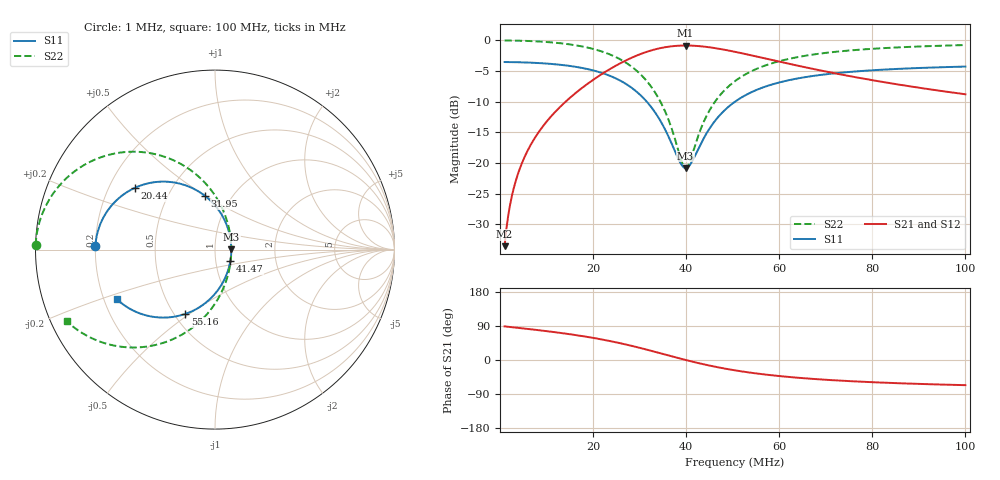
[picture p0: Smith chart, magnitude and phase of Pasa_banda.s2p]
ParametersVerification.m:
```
clear 
close all
clc

% Cargar el archivo Touchstone
s_params = sparameters('TouchStoneFiles/Pasa_banda.s2p'); % Reemplaza con tu archivo
frec = s_params.Frequencies; % Frecuencias en Hz
s_matrix = s_params.Parameters; % Matriz S (compleja)
z0 = s_params.Impedance; % Impedancia característica (por defecto 50 ohms)

% Convertir los parámetros S a otros dominios
z_matrix = s2z(s_matrix, z0); % Convertir S a Z
y_matrix = s2y(s_matrix, z0); % Convertir S a Y
abcd_matrix = s2abcd(s_matrix, z0); % Convertir S a ABCD

% Convertir ABCD a matriz T (Transmisión)
[n_ports, ~, n_freqs] = size(abcd_matrix); % Asumimos sistema de 2 puertos
t_matrix = zeros(size(abcd_matrix)); % Inicializar matriz T
for k = 1:n_freqs
    A = abcd_matrix(1,1,k);
    B = abcd_matrix(1,2,k);
    C = abcd_matrix(2,1,k);
    D = abcd_matrix(2,2,k);
    t_matrix(:,:,k) = [A B; C D] ./ D; % Normalización para obtener T
end

% Graficar Parámetros S, Z, Y, ABCD, T
figure;

% Parámetros S
subplot(3, 2, 1);
for i = 1:n_ports
    for j = 1:n_ports
        hold on;
        plot(frec/1e9, 20*log10(abs(squeeze(s_matrix(i,j,:)))), 'LineWidth', 1.5);
    end
end
xlabel('Frecuencia (GHz)');
ylabel('Magnitud |S| (dB)');
title('Parámetros S');
grid on;
legend(arrayfun(@(i, j) sprintf('S_{%d%d}', i, j), repmat(1:n_ports, n_ports, 1), repmat((1:n_ports)', 1, n_ports), 'UniformOutput', false));

% Parámetros Z
subplot(3, 2, 2);
for i = 1:n_ports
    for j = 1:n_ports
        hold on;
        plot(frec/1e9, real(squeeze(z_matrix(i,j,:))), 'LineWidth', 1.5);
    end
end
xlabel('Frecuencia (GHz)');
ylabel('Re(Z) (\Omega)');
title('Parámetros Z');
grid on;

% Parámetros Y
subplot(3, 2, 3);
for i = 1:n_ports
    for j = 1:n_ports
        hold on;
        plot(frec/1e9, abs(squeeze(y_matrix(i,j,:))), 'LineWidth', 1.5);
    end
end
xlabel('Frecuencia (GHz)');
ylabel('|Y| (S)');
title('Parámetros Y');
grid on;

% Parámetros ABCD
subplot(3, 2, 4);
for i = 1:2 % Solo para sistemas de 2 puertos (ABCD es 2x2)
    for j = 1:2
        hold on;
        plot(frec/1e9, abs(squeeze(abcd_matrix(i,j,:))), 'LineWidth', 1.5);
    end
end
xlabel('Frecuencia (GHz)');
ylabel('|ABCD|');
title('Parámetros ABCD');
grid on;

% Parámetros T
subplot(3, 2, 5);
for i = 1:2 % Solo para sistemas de 2 puertos (T es 2x2)
    for j = 1:2
        hold on;
        plot(frec/1e9, abs(squeeze(t_matrix(i,j,:))), 'LineWidth', 1.5);
    end
end
xlabel('Frecuencia (GHz)');
ylabel('|T|');
title('Parámetros T');
grid on;

% Ajustar el diseño
sgtitle('Parámetros S, Z, Y, ABCD, T');
```
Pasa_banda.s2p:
! Created Thu Nov 16 12:56:43 2023
# mhz S ri R 50
! 2 Port Network Data from SP1.SP block
! freq  reS11  imS11  reS21  imS21  reS12  imS12  reS22  imS22
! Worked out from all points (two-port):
!   500 points, 1 MHz to 100 MHz, reference 50 ohm
!   highest |S21| = -0.83 dB at 39.89 MHz (marker M1); lowest = -33.6 dB at 1 MHz (marker M2)
!   |S21| within 3 dB of the highest: 25.6 MHz to 62.22 MHz (36.62 MHz wide, 83.4 % of centre)
!   lowest |S11| = -20.8 dB at 39.89 MHz (marker M3), VSWR 1.20, Z = 60 + j0.139 ohm
!   |S11| at or under -10 dB: 31.55 MHz to 50.49 MHz (18.94 MHz wide, 46.2 % of centre)
!   |S22| runs from -20.8 to 0.0 dB; largest |S21 - S12| = 0
!   S11 on the Smith chart (normalised r, x): 1 MHz: 0.20, +0.01; 20.44 MHz: 0.31, +0.31; 31.95 MHz: 0.76, +0.50; 41.47 MHz: 1.18, -0.15; 55.16 MHz: 0.57, -0.48; 100 MHz: 0.25, -0.23
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1  -0.6663 0.0175  0.000483 0.0209  0.000483 0.0209  -0.9994 0.0251
3.182365  -0.6626 0.0556  0.00492 0.0667  0.00492 0.0667  -0.9941 0.0801
6.55511  -0.6488 0.1148  0.0214 0.1378  0.0214 0.1378  -0.9743 0.1653
20.44289  -0.4473 0.3436  0.2633 0.4123  0.2633 0.4123  -0.6841 0.4948
31.9499  -0.0548 0.2986  0.7342 0.3583  0.7342 0.3583  -0.1189 0.43
39.88577  0.0909 0.00115  0.9091 0.00138  0.9091 0.00138  0.0909 0.00166
41.47295  0.0857 -0.0627  0.9028 -0.0753  0.9028 -0.0753  0.0834 -0.0903
50.5992  -0.0707 -0.3104  0.7151 -0.3724  0.7151 -0.3724  -0.1418 -0.4469
55.16232  -0.1659 -0.3586  0.6009 -0.4303  0.6009 -0.4303  -0.2789 -0.5164
73.41483  -0.4129 -0.3576  0.3045 -0.4291  0.3045 -0.4291  -0.6346 -0.5149
100  -0.5454 -0.2778  0.1455 -0.3334  0.1455 -0.3334  -0.8254 -0.4
